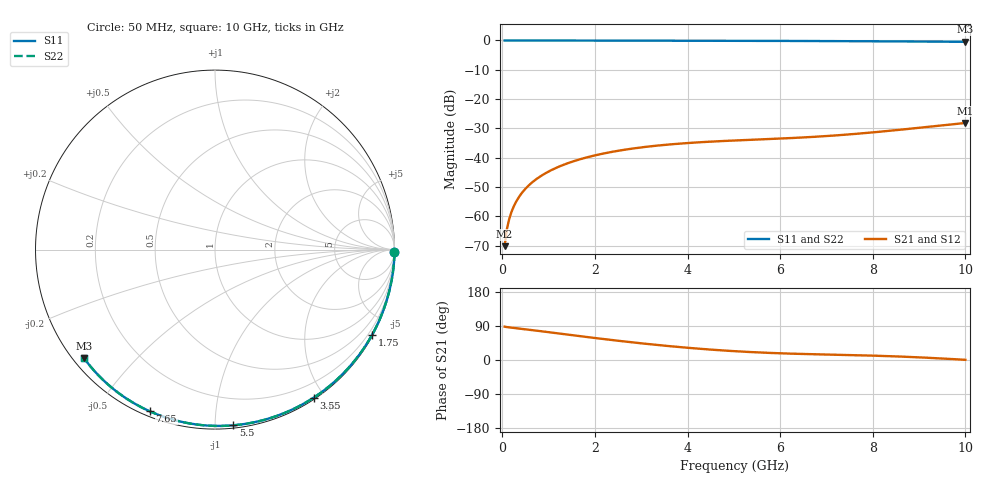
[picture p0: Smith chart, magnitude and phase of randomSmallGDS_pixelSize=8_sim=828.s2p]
! freq	dB(S11)	phase(S11)	dB(S12)	phase(S12)
!  dB(S21)	phase(S21)	dB(S22)	phase(S22)
!S-par simulation data
#  GHz  S  DB  R 50
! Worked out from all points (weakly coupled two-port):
!   200 points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, 50 MHz to 10 GHz, reference 50 ohm
!   highest |S21| = -28.16 dB at 10 GHz (marker M1); lowest = -70.2 dB at 50 MHz (marker M2)
!   lowest |S11| = -0.5 dB at 10 GHz (marker M3), VSWR 37.24, Z = 1.52 - j18 ohm
!   |S11| at or under -10 dB: nowhere
!   |S22| runs from -0.5 to 0.0 dB; largest |S21 - S12| = 0
!   S11 on the Smith chart (normalised r, x): 50 MHz: open; 1.75 GHz: 0.03, -3.94; 3.55 GHz: 0.02, -1.87; 5.5 GHz: 0.02, -1.11; 7.65 GHz: 0.02, -0.67; 10 GHz: 0.03, -0.36
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0.05  -0.00 -0.8  -70.19 87.9  -70.19 87.9  -0.00 -0.8
0.1  -0.00 -1.7  -64.32 86.8  -64.32 86.8  -0.00 -1.7
0.15  -0.00 -2.5  -60.89 86.1  -60.89 86.1  -0.00 -2.5
0.2  -0.00 -3.3  -58.44 85.4  -58.44 85.4  -0.00 -3.3
0.25  -0.00 -4.1  -56.54 84.8  -56.54 84.8  -0.00 -4.1
0.35  -0.00 -5.8  -53.66 83.4  -53.66 83.4  -0.00 -5.8
0.5  -0.01 -8.3  -50.60 81.2  -50.60 81.2  -0.01 -8.3
0.7  -0.01 -11.5  -47.73 78.1  -47.73 78.1  -0.01 -11.6
1  -0.02 -16.4  -44.73 73.4  -44.73 73.4  -0.02 -16.4
1.35  -0.03 -22.1  -42.26 67.9  -42.26 67.9  -0.03 -22.1
1.75  -0.04 -28.5  -40.22 61.8  -40.22 61.8  -0.04 -28.5
2.5  -0.05 -40.3  -37.65 50.8  -37.65 50.8  -0.05 -40.3
3.4  -0.07 -54.1  -35.79 39.0  -35.79 39.0  -0.07 -54.1
3.55  -0.08 -56.3  -35.57 37.2  -35.57 37.2  -0.08 -56.3
4.3  -0.10 -67.3  -34.70 29.3  -34.70 29.3  -0.10 -67.3
5.05  -0.12 -77.9  -34.11 23.0  -34.11 23.0  -0.12 -77.9
5.5  -0.14 -84.1  -33.81 20.1  -33.81 20.1  -0.14 -84.1
6.7  -0.19 -99.9  -32.92 15.2  -32.92 15.2  -0.19 -100.0
7.65  -0.25 -111.9  -31.85 12.6  -31.85 12.6  -0.25 -112.0
8.35  -0.30 -120.6  -30.84 10.2  -30.84 10.2  -0.30 -120.7
9.2  -0.38 -130.9  -29.48 5.8  -29.48 5.8  -0.38 -131.0
10  -0.47 -140.5  -28.16 0.5  -28.16 0.5  -0.47 -140.6
